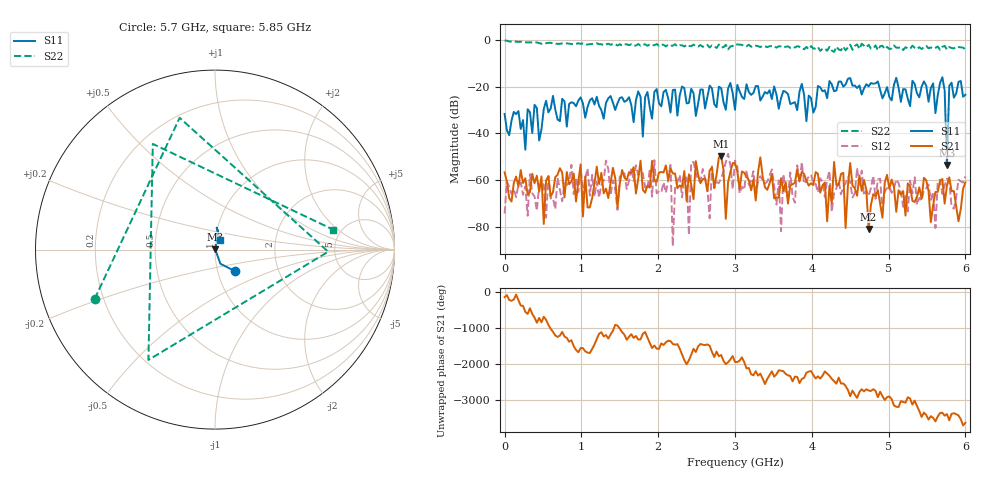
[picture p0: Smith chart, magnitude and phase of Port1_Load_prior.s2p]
#  HZ  S  DB  R  50.0
! Rohde & Schwarz ZVL13 2Ports - Version 3.20 - 1303.6509k13 SN: 100953
! Date: 2024-10-21 06:10:38
! Data & Calibration Information:
! Trc1:S11(Cal Off) Trc4:S21(Cal Off) Trc2:S12(Cal Off) Trc3:S22(Cal Off)
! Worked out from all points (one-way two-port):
!   201 points, 5 kHz to 6 GHz, reference 50 ohm
!   highest |S21| = -49.69 dB at 2.82 GHz (marker M1); lowest = -81.0 dB at 4.74 GHz (marker M2)
!   lowest |S11| = -53.6 dB at 5.76 GHz (marker M3), VSWR 1.00, Z = 50.1 + j0.168 ohm
!   |S11| at or under -10 dB: start of sweep to end of sweep
!   |S22| runs from -5.0 to -0.1 dB; largest |S21 - S12| = 0.0046
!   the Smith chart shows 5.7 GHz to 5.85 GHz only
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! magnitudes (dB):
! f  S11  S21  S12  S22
! 5 kHz  -31.6  -56.7  -74.4  -0.1
! 480 MHz  -38.2  -58.5  -60.6  -1.5
! 510 MHz  -29.5  -78.9  -62.2  -1.2
! 990 MHz  -24.5  -53.3  -54.6  -1.5
! 1.02 GHz  -27.1  -75.6  -66.3  -1.3
! 2.01 GHz  -27.0  -56.8  -65.0  -2.4
! 2.82 GHz  -20.5  -49.7  -59.2  -3.0
! 2.88 GHz  -29.9  -76.7  -52.3  -1.9
! 3 GHz  -29.8  -52.7  -51.7  -1.7
! 3.48 GHz  -25.2  -57.7  -55.5  -2.5
! 3.6 GHz  -24.8  -59.2  -82.0  -2.7
! 3.63 GHz  -21.7  -64.8  -57.5  -3.1
! 4.02 GHz  -31.1  -62.2  -61.4  -3.6
! 4.41 GHz  -19.9  -56.9  -62.8  -2.7
! 4.44 GHz  -19.0  -80.6  -61.4  -4.3
! 4.5 GHz  -16.2  -52.7  -61.1  -1.9
! 4.74 GHz  -19.8  -81.0  -66.9  -1.9
! 5.01 GHz  -24.3  -63.8  -62.9  -3.8
! 5.7 GHz  -15.8  -59.6  -65.9  -2.8
! 5.76 GHz  -53.6  -62.3  -59.5  -4.0
! 5.79 GHz  -19.6  -58.8  -60.4  -2.9
! 6 GHz  -23.4  -61.0  -58.5  -3.9
